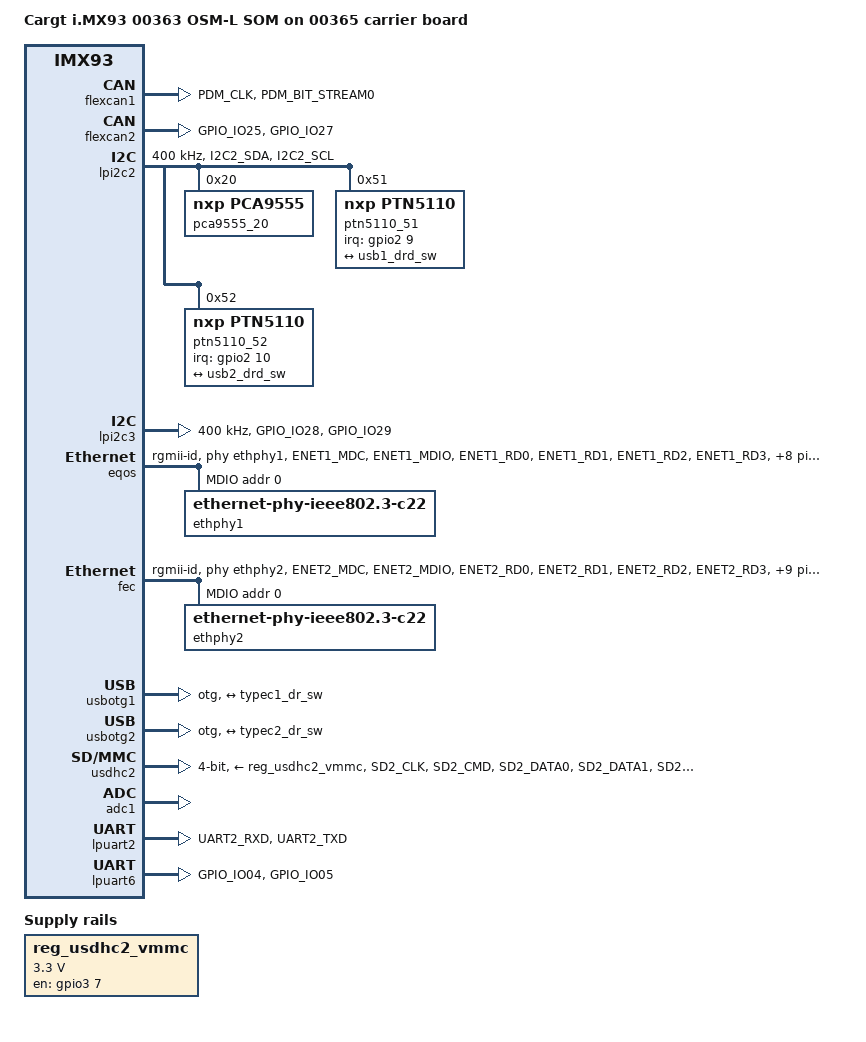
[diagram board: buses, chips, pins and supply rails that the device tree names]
// SPDX-License-Identifier: (GPL-2.0+ OR MIT)
/*
 * Copyright 2022 NXP
 */

/dts-v1/;

#include <dt-bindings/usb/pd.h>
#include "imx93-beacon-som.dtsi"
 
 / {
	model = "Cargt i.MX93 00363 OSM-L SOM on 00365 carrier board";

	aliases {
		rtc0 = &rtc_i2c;
		rtc1 = &bbnsm_rtc;
	};

	reg_usdhc2_vmmc: regulator-usdhc2 {
		pinctrl-names = "default";
		pinctrl-0 = <&pinctrl_usdhc2_reg>;		
		compatible = "regulator-fixed";
		regulator-name = "SDIO_A_PWR_EN";
		regulator-min-microvolt = <3300000>;
		regulator-max-microvolt = <3300000>;
		gpio = <&gpio3 7 GPIO_ACTIVE_HIGH>;
		off-on-delay-us = <12000>;
		enable-active-high;
	};
};
 
 
&flexcan1 {
	pinctrl-names = "default";
	pinctrl-0 = <&pinctrl_flexcan1>;
	status = "okay";
};
 
&flexcan2 {
	pinctrl-names = "default";
	pinctrl-0 = <&pinctrl_flexcan2>;
	status = "okay";
};
 
&lpi2c2 {
	#address-cells = <1>;
	#size-cells = <0>;
	clock-frequency = <400000>;
	pinctrl-names = "default", "sleep";
	pinctrl-0 = <&pinctrl_lpi2c2>;
	pinctrl-1 = <&pinctrl_lpi2c2>;
	status = "okay";

	pca9555_20: pca9555@20 {
		compatible = "nxp,pca9555";
		gpio-controller;
		#gpio-cells = <2>;
		reg = <0x20>;
		gpio-line-names =
			"pca9555_20-0",	"pca9555_20-1",	"pca9555_20-2",	"pca9555_20-3", 	// 0-3
			"pca9555_20-4",	"pca9555_20-5",	"pca9555_20-6",	"pca9555_20-7",		// 4-7
			"pca9555_20-8",	"pca9555_20-9",	"pca9555_20-10","pca9555_20-11", 	// 8-11
			"pca9555_20-12","pca9555_20-13","pca9555_20-14","pca9555_20-15"; 	// 12-15
	};

	ptn5110_51: tcpc@51 {
		compatible = "nxp,ptn5110";
		reg = <0x51>;
		pinctrl-names = "default";
		pinctrl-0 = <&pinctrl_ptn5110_51>;
		interrupt-parent = <&gpio2>;
		interrupts = <9 IRQ_TYPE_LEVEL_LOW>;	
		status = "okay";

		port {
			typec1_dr_sw: endpoint {
				remote-endpoint = <&usb1_drd_sw>;
			};
		};

		connector {
			compatible = "usb-c-connector";
			label = "USB-C(A)";
			power-role = "dual";
			data-role = "dual";
			try-power-role = "sink";
			source-pdos = <PDO_FIXED(5000, 3000, PDO_FIXED_USB_COMM)>;
			sink-pdos = <PDO_FIXED(5000, 3000, PDO_FIXED_USB_COMM)
					PDO_VAR(5000, 20000, 3000)>;
			op-sink-microwatt = <15000000>;
			self-powered;
		};
	};

	ptn5110_52: tcpc@52 {
		compatible = "nxp,ptn5110";
		reg = <0x52>;
		pinctrl-names = "default";
		pinctrl-0 = <&pinctrl_ptn5110_52>;
		interrupt-parent = <&gpio2>;
		interrupts = <10 IRQ_TYPE_LEVEL_LOW>;	
		status = "okay";

		port {
			typec2_dr_sw: endpoint {
				remote-endpoint = <&usb2_drd_sw>;
			};
		};

		connector {
			compatible = "usb-c-connector";
			label = "USB-C(C)";
			power-role = "dual";
			data-role = "dual";
			try-power-role = "sink";
			source-pdos = <PDO_FIXED(5000, 3000, PDO_FIXED_USB_COMM)>;
			sink-pdos = <PDO_FIXED(5000, 3000, PDO_FIXED_USB_COMM)
					PDO_VAR(5000, 20000, 3000)>;
			op-sink-microwatt = <15000000>;
			self-powered;
		};
	};
};

&lpi2c3 {
	#address-cells = <1>;
	#size-cells = <0>;
	clock-frequency = <400000>;
	pinctrl-names = "default", "sleep";
	pinctrl-0 = <&pinctrl_lpi2c3>;
	pinctrl-1 = <&pinctrl_lpi2c3>;
	status = "okay";
 };

&eqos {
	pinctrl-names = "default";
	pinctrl-0 = <&pinctrl_eqos>;
	phy-mode = "rgmii-id";
	phy-handle = <&ethphy1>;
	snps,reset-gpios = <&pca9555_20 0 GPIO_ACTIVE_LOW>;
	snps,reset-delays-us = <10 20 200000>;
	status = "okay";

	mdio {
		compatible = "snps,dwmac-mdio";
		#address-cells = <1>;
		#size-cells = <0>;
		clock-frequency = <5000000>;

		ethphy1: ethernet-phy@0 {
			compatible = "ethernet-phy-ieee802.3-c22";
			reg = <0>;
			eee-broken-1000t;
		};
	};
};

&fec {
	pinctrl-names = "default";
	pinctrl-0 = <&pinctrl_fec>;
	phy-mode = "rgmii-id";
	phy-handle = <&ethphy2>;
	fsl,magic-packet;
	phy-reset-gpios = <&pca9555_20 1 GPIO_ACTIVE_LOW>;
	phy-reset-duration = <10>;
	phy-reset-post-delay = <150>;
	status = "okay";

	mdio {
		#address-cells = <1>;
		#size-cells = <0>;
		clock-frequency = <5000000>;

		ethphy2: ethernet-phy@0 {
			compatible = "ethernet-phy-ieee802.3-c22";
			reg = <0>;
			eee-broken-1000t;
		};
	};
};
 
&usbotg1 {
	 dr_mode = "otg";
	 hnp-disable;
	 srp-disable;
	 adp-disable;
	 usb-role-switch;
	 disable-over-current;
	 samsung,picophy-pre-emp-curr-control = <3>;
	 samsung,picophy-dc-vol-level-adjust = <7>;
	 status = "okay";
 
	 port {
		 usb1_drd_sw: endpoint {
			 remote-endpoint = <&typec1_dr_sw>;
		 };
	 };
};

&usbotg2 {
	 dr_mode = "otg";
	 hnp-disable;
	 srp-disable;
	 adp-disable;
	 usb-role-switch;
	 disable-over-current;
	 samsung,picophy-pre-emp-curr-control = <3>;
	 samsung,picophy-dc-vol-level-adjust = <7>;
	 status = "okay";
 
	 port {
		 usb2_drd_sw: endpoint {
			 remote-endpoint = <&typec2_dr_sw>;
		 };
	 };
};
 
&usdhc2 {
	 pinctrl-names = "default", "state_100mhz", "state_200mhz";
	 pinctrl-0 = <&pinctrl_usdhc2>, <&pinctrl_usdhc2_gpio>;
	 pinctrl-1 = <&pinctrl_usdhc2>, <&pinctrl_usdhc2_gpio>;
	 pinctrl-2 = <&pinctrl_usdhc2>, <&pinctrl_usdhc2_gpio>;
	 vmmc-supply = <&reg_usdhc2_vmmc>;
	 cd-gpios = <&gpio3 00 GPIO_ACTIVE_LOW>;
	 bus-width = <4>;
	 status = "okay";
	 no-sdio;
	 no-mmc;
};

&adc1 {
	status = "okay";
};

&lcdif {
	status = "disabled";
};

&ldb {
	status = "disabled";
};

&dphy {
	status = "disabled";
};

&dsi {
	status = "disabled";
};

&lpuart2 { /* Mikrobus UART */
	pinctrl-names = "default";
	pinctrl-0 = <&pinctrl_uart2>;
	status = "okay";
};

&lpuart6 {
	pinctrl-names = "default";
	pinctrl-0 = <&pinctrl_uart6>;
	status = "okay";
};

&iomuxc {
	
	pinctrl_eqos: eqosgrp {
		fsl,pins = <
			MX93_PAD_ENET1_MDC__ENET_QOS_MDC						0x50e
			MX93_PAD_ENET1_MDIO__ENET_QOS_MDIO						0x50e
			MX93_PAD_ENET1_RD0__ENET_QOS_RGMII_RD0					0x51e
			MX93_PAD_ENET1_RD1__ENET_QOS_RGMII_RD1					0x51e
			MX93_PAD_ENET1_RD2__ENET_QOS_RGMII_RD2					0x51e
			MX93_PAD_ENET1_RD3__ENET_QOS_RGMII_RD3					0x51e
			MX93_PAD_ENET1_RXC__CCM_ENET_QOS_CLOCK_GENERATE_RX_CLK	0x51e
			MX93_PAD_ENET1_RX_CTL__ENET_QOS_RGMII_RX_CTL			0x51e
			MX93_PAD_ENET1_TD0__ENET_QOS_RGMII_TD0					0x51e
			MX93_PAD_ENET1_TD1__ENET_QOS_RGMII_TD1					0x51e
			MX93_PAD_ENET1_TD2__ENET_QOS_RGMII_TD2					0x51e
			MX93_PAD_ENET1_TD3__ENET_QOS_RGMII_TD3					0x51e
			MX93_PAD_ENET1_TXC__CCM_ENET_QOS_CLOCK_GENERATE_TX_CLK	0x51e
			MX93_PAD_ENET1_TX_CTL__ENET_QOS_RGMII_TX_CTL			0x51e
		>;
	};

	pinctrl_fec: fecgrp {
		fsl,pins = <
			MX93_PAD_ENET2_MDC__ENET1_MDC				0x50e
			MX93_PAD_ENET2_MDIO__ENET1_MDIO				0x50e
			MX93_PAD_ENET2_RD0__ENET1_RGMII_RD0			0x51e
			MX93_PAD_ENET2_RD1__ENET1_RGMII_RD1			0x51e
			MX93_PAD_ENET2_RD2__ENET1_RGMII_RD2			0x51e
			MX93_PAD_ENET2_RD3__ENET1_RGMII_RD3			0x51e
			MX93_PAD_ENET2_RXC__ENET1_RGMII_RXC			0x51e
			MX93_PAD_ENET2_RX_CTL__ENET1_RGMII_RX_CTL	0x51e
			MX93_PAD_ENET2_TD0__ENET1_RGMII_TD0			0x51e
			MX93_PAD_ENET2_TD1__ENET1_RGMII_TD1			0x51e
			MX93_PAD_ENET2_TD2__ENET1_RGMII_TD2			0x51e
			MX93_PAD_ENET2_TD3__ENET1_RGMII_TD3			0x51e
			MX93_PAD_ENET2_TXC__ENET1_RGMII_TXC			0x51e
			MX93_PAD_ENET2_TX_CTL__ENET1_RGMII_TX_CTL	0x51e
		>;
	};

	pinctrl_lpi2c2: lpi2c2grp {
		fsl,pins = <
			MX93_PAD_I2C2_SDA__LPI2C2_SDA			0x40000b9e
			MX93_PAD_I2C2_SCL__LPI2C2_SCL			0x40000b9e
		>;
	};
 
	pinctrl_lpi2c3: lpi2c3grp {
		fsl,pins = <
			MX93_PAD_GPIO_IO28__LPI2C3_SDA			0x40000b9e
			MX93_PAD_GPIO_IO29__LPI2C3_SCL			0x40000b9e
		>;
	}; 

	pinctrl_flexcan1: flexcan1grp {
		fsl,pins = <
			MX93_PAD_PDM_CLK__CAN1_TX				0x139e
			MX93_PAD_PDM_BIT_STREAM0__CAN1_RX		0x139e
		>;
	};
 
	pinctrl_flexcan2: flexcan2grp {
		fsl,pins = <
			MX93_PAD_GPIO_IO25__CAN2_TX			0x139e
			MX93_PAD_GPIO_IO27__CAN2_RX			0x139e
		>;
	};
 
	pinctrl_usdhc2_reg: usdhc2reggrp {
		fsl,pins = <
			MX93_PAD_SD2_RESET_B__GPIO3_IO07	0x31e /* SDIO_A_PWR_EN */
		>;
	};

	pinctrl_usdhc2_gpio: usdhc2gpiogrp {
		fsl,pins = <
			MX93_PAD_SD2_CD_B__GPIO3_IO00		0x31e
		>;
	};
 
	pinctrl_usdhc2: usdhc2grp {
		fsl,pins = <
			 MX93_PAD_SD2_CLK__USDHC2_CLK		0x15fe
			 MX93_PAD_SD2_CMD__USDHC2_CMD		0x400013fe
			 MX93_PAD_SD2_DATA0__USDHC2_DATA0	0x400013fe
			 MX93_PAD_SD2_DATA1__USDHC2_DATA1	0x400013fe
			 MX93_PAD_SD2_DATA2__USDHC2_DATA2	0x400013fe
			 MX93_PAD_SD2_DATA3__USDHC2_DATA3	0x400013fe
			 MX93_PAD_SD2_VSELECT__USDHC2_VSELECT	0x51e
		>;
	 };

 
	pinctrl_sai1: sai1grp {
		fsl,pins = <
			 MX93_PAD_SAI1_TXC__SAI1_TX_BCLK		0x31e
			 MX93_PAD_SAI1_TXFS__SAI1_TX_SYNC		0x31e
			 MX93_PAD_SAI1_TXD0__SAI1_TX_DATA00		0x31e
			 MX93_PAD_SAI1_RXD0__SAI1_MCLK			0x31e
		>;
	 };
	 
	pinctrl_ptn5110_51: ptn5110_51grp {
		fsl,pins = <
			MX93_PAD_GPIO_IO09__GPIO2_IO09			0x31e
		>;
	};

	pinctrl_ptn5110_52: ptn5110_52grp {
		fsl,pins = <
			MX93_PAD_GPIO_IO10__GPIO2_IO10			0x31e
		>;
	};
	pinctrl_uart6: uart6grp {
		fsl,pins = <
			MX93_PAD_GPIO_IO04__LPUART6_TX			0x31e
			MX93_PAD_GPIO_IO05__LPUART6_RX			0x31e
		>;
	};
		
	pinctrl_uart2: uart2grp {
		fsl,pins = <
			MX93_PAD_UART2_RXD__LPUART2_RX			0x31e
			MX93_PAD_UART2_TXD__LPUART2_TX			0x31e
		>;
	};
};
 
